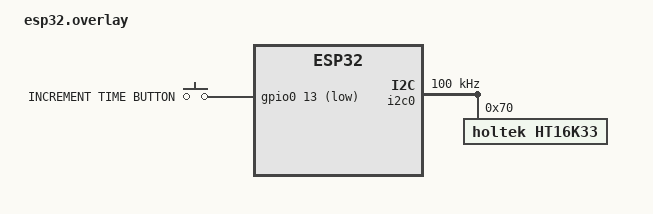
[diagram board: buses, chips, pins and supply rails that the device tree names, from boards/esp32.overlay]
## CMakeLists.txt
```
cmake_minimum_required( VERSION 3.22)
set(BOARD esp32)
find_package(Zephyr)
project(digital_clock)
target_sources(app PRIVATE src/main.c src/MyDisplay.c src/digital_clock.c src/buttons.c)
```

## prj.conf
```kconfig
CONFIG_LOG=y
CONFIG_I2C=y
CONFIG_LED=y
CONFIG_GPIO=y
```

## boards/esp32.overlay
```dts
/*
 * Copyright (c) 2019 Henrik Brix Andersen <henrik@brixandersen.dk>
 *
 * SPDX-License-Identifier: Apache-2.0
 */

&i2c0 {
	clock-frequency = <I2C_BITRATE_STANDARD>;

	ht16k33@70 {
		compatible = "holtek,ht16k33";
		reg = <0x70>;
                /* Uncomment to use IRQ instead of polling: */
		/* irq-gpios = <&gpio1 8 (GPIO_PULL_UP | GPIO_ACTIVE_LOW)>; */

		/*keyscan {
			compatible = "holtek,ht16k33-keyscan";
		};*/
	};
};

/{buttons{
	compatible="gpio-keys";

	/*button to increment the time value*/
	incrementbutton:incrementbutton{
		gpios=<&gpio0 13  (GPIO_PULL_UP|GPIO_ACTIVE_LOW)>;
		label="INCREMENT TIME BUTTON";
	};
};
};
```

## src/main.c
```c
#include "digital_clock.h"
#include <zephyr/drivers/gpio.h>
#include <zephyr/kernel.h>
#include <zephyr/device.h>
#include <zephyr/drivers/gpio.h>
#include <zephyr/sys/util.h>
#include <zephyr/sys/printk.h>
#include <inttypes.h>

// #define LED_NODE DT_COMPAT_GET_ANY_STATUS_OKAY(holtek_ht16k33)

void printText(const char *textToPrint, const struct device *const led)
{

	int j = 0;
	char textSlice[4] = {"YYYY"};
	while (textToPrint[j] != '\0') {

		displayString(textSlice, led);

		for (int k = 0; k < 3; k++) {
			textSlice[k] = textSlice[k + 1];
		}
		textSlice[3] = textToPrint[j];
		k_msleep(1000);
		j++;
	}
}



void main(void)
{

	/* code */
	// if (!device_is_ready(led)) {
	//  LOG_ERR("LED device not ready");
	//	return;
	//}

	// displayString("12C",led);
	// int b = displaySingleNumber(3,0,led);

	//char tab [] = {"DADIVAYYYYDINISYYYY"};

	// setDegreePointState(led,ON);

	// Init clock
	digitalClockInit();

	

	
}
```

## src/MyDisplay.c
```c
/**
 * @file MyDisplay.c
 * @author Dario Carvalho (dariocarvalho2019@gmail.com)
 * @brief 
 * @version 0.1
 * @date 2023-07-29
 * 
 * @copyright Copyright (c) 2023
 * 
 */


#include "MyDisplay.h"

// given a number i, fNumber[i] returns a 7 seg display code that corresponds to i
const uint32_t fNumber[11] = {0xFC, 0x60, 0xda, 0xf2, 0x66, 0xb6, 0xbe, 0xe0, 0xfe, 0xf6, 0x00};

// given a letter between A and Z excluding Y , fChar[a] returns a 7 seg display cde that
// corresponds to s
const uint32_t fChar[25] = {0xfa, 0x3e, 0x9c, 0x7a, 0xde, 0x8e, 0xbe, 0x6e, 0x0c,
			    0x78, 0x6e, 0x1c, 0xec, 0xec, 0xfc, 0xce, 0xe6, 0x8c,
			    0xb6, 0x3c, 0x7c, 0x7c, 0x6e, 0xda, 0x00};

#define LED0_OFFSET   0
#define LED1_OFFSET   16
#define LED2_OFFSET   48
#define LED3_OFFSET   64
#define CENTRAL_POINT 33
#define DEGREE_POINT  36

/**
 * @brief given a position of a led, return its offset according to the LED API.
 *
 * @param pos the position of the element on the display. At the moment it can be a value between 0
 * and 3 representing each display from left to right respectively.
 * @return the offset of the led according to the LED driver API.
 */
static uint32_t offsetLED(uint32_t pos)
{
	uint32_t offset = 0;
	switch (pos) {
	case 0:
		offset = LED0_OFFSET;
		break;
	case 1:
		offset = LED1_OFFSET;
		break;
	case 2:
		offset = LED2_OFFSET;
		break;
	case 3:
		offset = LED3_OFFSET;
	}

	return offset;
}

static void writeValue(const struct device *const led, uint32_t number, uint32_t offset)
{
	uint32_t un = 2;

	for (int j = 6; j >= 0; j--) {
		if (un & number) {
			led_on(led, offset + j);
		} else {
			led_off(led, offset + j);
		}
		un = un * 2;
	}
}

uint32_t displaySingleNumber(uint32_t num, uint32_t position, const struct device *const led)
{
	uint32_t number = fNumber[num];
	uint32_t offset = offsetLED(position);
	writeValue(led, number, offset);
	return 0;
}

void displayChar(char letter, uint32_t position, const struct device *const led)
{
	uint32_t offset = offsetLED(position);
	uint32_t charNum = letter - 'A';
	charNum = fChar[charNum];
	writeValue(led, charNum, offset);
}

void displayNum(uint32_t num, const struct device *const led)
{
	uint32_t n1 = num / 1000;
	uint32_t n2 = ((num % 1000) / 100);
	uint32_t n3 = (((num % 1000) % 100) / 10);
	uint32_t n4 = (((num % 1000) % 100) % 10);
	displaySingleNumber(n1, 0, led);
	displaySingleNumber(n2, 1, led);
	displaySingleNumber(n3, 2, led);
	displaySingleNumber(n4, 3, led);
}

void displayString(const char *phrase, const struct device *const led)
{
	int i = 0;
	while (phrase[i] != '\0') {
		if (phrase[i] >= 'A' && phrase[i] < 'Z') {
			displayChar(phrase[i], i, led);
		} else if (phrase[i] >= '0' && phrase[i] <= '9') {
			displaySingleNumber((uint32_t)(phrase[i]) - 48, i, led);
		}
		i++;
	}
}

void setStateCentralPoint(const struct device *const led, uint32_t state)
{
	(state == true) ? led_on(led, CENTRAL_POINT) : led_off(led, CENTRAL_POINT);
}

void setDegreePointState(const struct device *const led, uint32_t state)
{
	(state == true) ? led_on(led, DEGREE_POINT) : led_off(led, DEGREE_POINT);
}
```

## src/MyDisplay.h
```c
/**
 * @file MyDisplay.h
 * @author Dario Carvalho (dariocarvalho2019@gmail.com)
 * @brief 
 * @version 0.1
 * @date 2023-07-29
 * 
 * @copyright Copyright (c) 2023
 * 
 */

#ifndef _DISPLAY_H
#define _DISPLAY_H

#include <stdint.h>
#include <zephyr/drivers/led.h>
#include <zephyr/kernel.h>

#define ON true
#define OFF false
#define DISPLAY_SIZE 4;

/**
 * @brief displays a number between 0 and 9
 * 
 * @param num the number we want display
 * @param position the position at which the nuymber is going to be displayed
 * @param led the device needed by the LED driver
 * @return 0
 */
uint32_t displaySingleNumber(uint32_t num, uint32_t position, const struct device *const led);

/**
 * @brief displays a caracter between A and Z, you must give an upper case char
 * 
 * @param letter the letter we want to display
 * @param position the position of the char on the display.
 * @param led the device needed by the LED driver
 */
void displayChar(char letter,uint32_t position,const struct device *const led);


/**
 * @brief displays a number between 0 and 9999
 * 
 * @param num the number we want to display
 * @param led the device required by the LED driver API
 */
void displayNum(uint32_t num,const struct device *const led);


/**
 * @brief Displays a string
 * 
 * @param phrase a pointer to the string
 * @param led the device needed by the LED driver
 */
void displayString(const char * phrase,const struct device *const led);

/**
 * @brief set the state of the central points
 * 
 * @param state the state we want to set, 0 off, 1 ON
 * @param led the device needed by the LED driver
 */
void setStateCentralPoint(const struct device *const led, uint32_t state);

/**
 * @brief set the state of the Degree Point
 * 
 * @param state the state we want to set, 0 off, 1 ON
 * @param led the device needed by the LED driver
 */
void setDegreePointState(const struct device *const led, uint32_t state);

#endif
```

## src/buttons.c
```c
#include "buttons.h"
void button_pressed(const struct device *dev, struct gpio_callback *cb, uint32_t pins)
{
	
}
```

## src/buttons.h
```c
#ifndef _BUTTONS_H
#define _BUTTONS_H
#include <zephyr/drivers/gpio.h>
#include <zephyr/kernel.h>
#include <zephyr/device.h>
#include <zephyr/drivers/gpio.h>
#include <zephyr/sys/util.h>
#include <zephyr/sys/printk.h>
#include <inttypes.h>
#include <stdint.h>


void button_pressed(const struct device *dev, struct gpio_callback *cb, uint32_t pins);
#endif
```

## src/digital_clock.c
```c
#include "digital_clock.h"
#include "buttons.h"

#define LED_NODE     DT_COMPAT_GET_ANY_STATUS_OKAY(holtek_ht16k33)
#define DISPLAY_SIZE 4;

/* global variables */

/*CONTROLERS*/
const struct device *display  = DEVICE_DT_GET(LED_NODE);
static const struct gpio_dt_spec incrementbutton = GPIO_DT_SPEC_GET(DT_NODELABEL(incrementbutton), gpios);

static struct gpio_callback button_cb_data;

/* variables to send to display modules*/
uint32_t minutes = 55;
uint32_t hour = 0;

void setMinutes(uint32_t minute)
{
	minutes++;
	printk("incrementbutton pressed at %d \n", minutes);
}





void setHour(uint32_t hour)
{
}

bool digitalClockInit()
{
	
	/*display initialisation*/
	if (!device_is_ready(display)) 
    {
		return false;
	}

	/*increment*/

	if (!device_is_ready(incrementbutton.port)) {
		return false;
	}

	int ret = gpio_pin_configure_dt(&incrementbutton, GPIO_INPUT);

	if (ret != 0) {
		return false;
	}


	ret = gpio_pin_interrupt_configure_dt(&incrementbutton, GPIO_INT_EDGE_TO_ACTIVE);
	if (ret != 0) {
		return false;
	}

	gpio_init_callback(&button_cb_data, setMinutes, BIT(incrementbutton.pin));
	gpio_add_callback(incrementbutton.port, &button_cb_data);

	/*Initial animation*/

	for (int k = 0; k < 4; k++)
    {
		displayString("INIT", display);
		k_msleep(100);
		displayString("YYYY", display);
		k_msleep(100);
	}

	displayNum(0, display);
	setStateCentralPoint(display, ON);
	return true;
}
```

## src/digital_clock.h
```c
/**
 * @file digital_clock.h
 * @author Dario Carvalho (dariocarvalho2019@gmail.com)
 * @brief 
 * @version 0.1
 * @date 2023-07-30
 * 
 * @copyright Copyright (c) 2023
 * 
 */

#ifndef _DIGITAL_CLOCK_H
#define _DIGITAL_CLOCK_H

#include <zephyr/drivers/led.h>
#include <zephyr/devicetree.h>
#include <zephyr/kernel.h>
#include <zephyr/logging/log.h>
#include "MyDisplay.h"


struct time
{
    uint32_t hour;
    uint32_t minute;
};


/**
 * @brief Initialises the clock
 * 
 * @return true if all ressources where allocated correctly
 * @return false if it was possible to allocate all ressources
 */
bool digitalClockInit(); 

/**
 * @brief Set the Hour
 * 
 * @param hour the hour to set.
 */
void setHour(uint32_t hour);

/**
 * @brief Set the Minutes
 * 
 * @param minute the minutes we want to set
 */
void setMinutes(uint32_t minute);


/**
 * @brief Set an alarm
 *
 * @param time the alarm time
 */
void setAlarm(struct time time);

#endif
```
